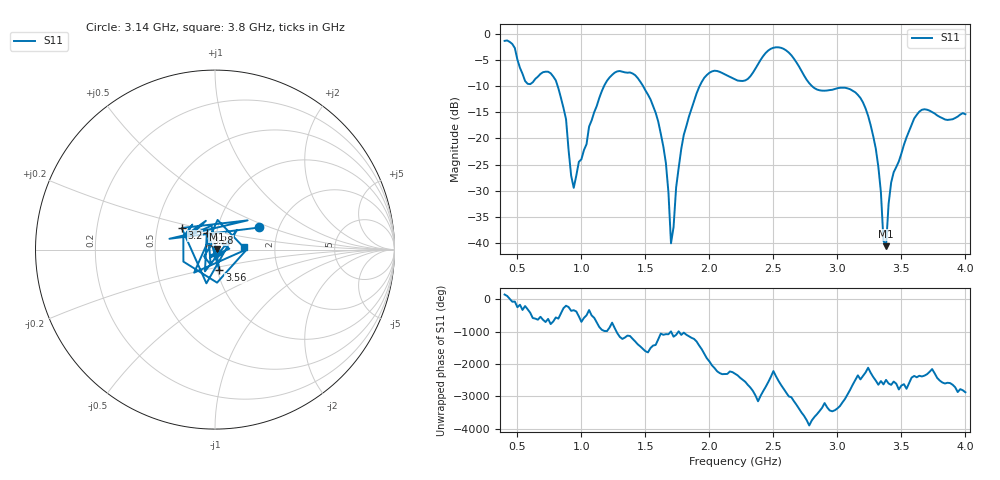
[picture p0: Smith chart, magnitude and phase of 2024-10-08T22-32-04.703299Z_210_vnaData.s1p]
! Created with skrf (http://scikit-rf.org).
# Hz S RI R 50.0
!freq ReS11 ImS11
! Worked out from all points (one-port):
!   181 points, 400 MHz to 4 GHz, reference 50 ohm
!   lowest |S11| = -40.6 dB at 3.38 GHz (marker M1), VSWR 1.02, Z = 50.8 + j0.415 ohm
!   |S11| at or under -10 dB: 814.8 MHz to 1.177 GHz (361.7 MHz wide, 36.3 % of centre); 1.482 GHz to 1.923 GHz (441.1 MHz wide, 25.9 % of centre); 2.802 GHz to end of sweep
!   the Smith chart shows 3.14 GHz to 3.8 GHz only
!   S11 on the Smith chart (normalised r, x): 3.14 GHz: 1.59, +0.42; 3.2 GHz: 0.67, +0.17; 3.28 GHz: 0.90, +0.17; 3.56 GHz: 1.02, -0.24; 3.8 GHz: 1.38, +0.04
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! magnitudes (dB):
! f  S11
! 400 MHz  -1.3
! 580 MHz  -9.5
! 760 MHz  -7.5
! 860 MHz  -14.2
! 940 MHz  -29.5
! 1.16 GHz  -10.9
! 1.3 GHz  -7.1
! 1.58 GHz  -15.1
! 1.66 GHz  -24.7
! 1.7 GHz  -40.1
! 1.76 GHz  -25.6
! 1.96 GHz  -8.4
! 2.2 GHz  -8.7
! 2.5 GHz  -2.6
! 2.66 GHz  -4.7
! 2.84 GHz  -10.6
! 3.1 GHz  -10.6
! 3.14 GHz  -11.2
! 3.2 GHz  -13.1
! 3.28 GHz  -19.6
! 3.34 GHz  -30.3
! 3.36 GHz  -39.6
! 3.38 GHz  -40.6
! 3.42 GHz  -28.4
! 3.56 GHz  -18.6
! 3.66 GHz  -14.5
! 3.8 GHz  -15.9
! 4 GHz  -15.4
